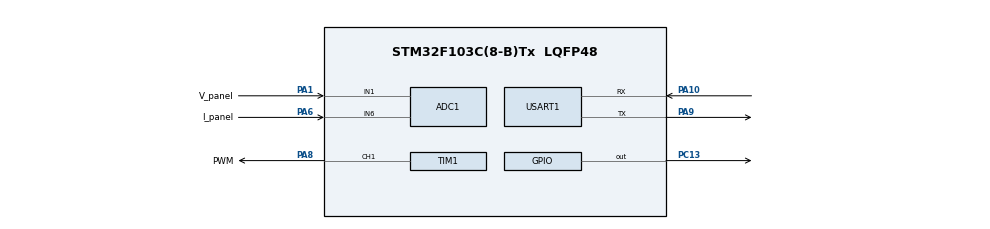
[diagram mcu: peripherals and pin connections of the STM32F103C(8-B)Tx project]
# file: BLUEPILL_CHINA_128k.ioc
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ADC1.Channel-0\#ChannelRegularConversion=ADC_CHANNEL_1
ADC1.NbrOfConversionFlag=1
ADC1.Rank-0\#ChannelRegularConversion=1
ADC1.SamplingTime-0\#ChannelRegularConversion=ADC_SAMPLETIME_1CYCLE_5
ADC1.master=1
Mcu.Family=STM32F1
Mcu.Name=STM32F103C(8-B)Tx
Mcu.Package=LQFP48
NVIC.PriorityGroup=NVIC_PRIORITYGROUP_4
PA1.GPIO_Label=V_panel
PA1.Signal=ADCx_IN1
PA10.Mode=Asynchronous
PA10.Signal=USART1_RX
PA13.Mode=Serial_Wire
PA13.Signal=SYS_JTMS-SWDIO
PA14.Mode=Serial_Wire
PA14.Signal=SYS_JTCK-SWCLK
PA6.GPIO_Label=I_panel
PA6.Signal=ADCx_IN6
PA8.GPIO_Label=PWM
PA8.Signal=S_TIM1_CH1
PA9.Mode=Asynchronous
PA9.Signal=USART1_TX
PC13-TAMPER-RTC.Signal=GPIO_Output
PD0-OSC_IN.Mode=HSE-External-Oscillator
PD0-OSC_IN.Signal=RCC_OSC_IN
PD1-OSC_OUT.Mode=HSE-External-Oscillator
PD1-OSC_OUT.Signal=RCC_OSC_OUT
ProjectManager.HeapSize=0x200
ProjectManager.StackSize=0x400
ProjectManager.TargetToolchain=STM32CubeIDE
RCC.APB1Freq_Value=8000000
RCC.APB2Freq_Value=8000000
SH.ADCx_IN1.0=ADC1_IN1,IN1
SH.ADCx_IN6.0=ADC1_IN6,IN6
SH.S_TIM1_CH1.0=TIM1_CH1,PWM Generation1 CH1
TIM1.Channel-PWM\ Generation1\ CH1=TIM_CHANNEL_1
TIM1.Period=255
TIM1.Prescaler=3
USART1.VirtualMode=VM_ASYNC
board=custom

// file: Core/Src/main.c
/* USER CODE BEGIN Header */
/**
 ******************************************************************************
 * @file           : main.c
 * @brief          : Main program body
 ******************************************************************************
 * @attention
 *
 * Copyright (c) 2024 STMicroelectronics.
 * All rights reserved.
 *
 * This software is licensed under terms that can be found in the LICENSE file
 * in the root directory of this software component.
 * If no LICENSE file comes with this software, it is provided AS-IS.
 *
 ******************************************************************************
 */
/* USER CODE END Header */
#include "main.h"

/* USER CODE BEGIN Includes */
#include "stdio.h"
#include "string.h"

/* USER CODE END Includes */

/* USER CODE BEGIN PTD */
//Aquí defines nuevos tipos de datos (typedef)
/* USER CODE END PTD */

/* USER CODE BEGIN PD */
//definir macros #define
#define ACTIVADOR_PIN GPIO_PIN_13
#define ACTIVADOR_PORT GPIOC

#define VPANEL_CHANNEL ADC_CHANNEL_1
#define IPANEL_CHANNEL ADC_CHANNEL_6

#define PWM_TIMER &htim1

/* USER CODE END PD */

ADC_HandleTypeDef hadc1;

TIM_HandleTypeDef htim1;

UART_HandleTypeDef huart1;

/* USER CODE BEGIN PV */
//defini aca las varaibles privadas
const int PWM_MPPT_Pin = PWM_Pin;    // Cambia por el pin que estés usando
const int pinVoltageInput = V_panel_Pin; // Entrada analógica para medir el voltaje de entrada A0
const int pinCurrentInput = I_panel_Pin; // Entrada analógica para medir la corriente de entrada A1

// Variables globales

/* USER CODE END PV */
float V_in = 0;
float I_in = 0;
float power = 0;
float previousPower = 0;
int dutyCycle = 255 * 0.5; // Valor inicial del Duty Cycle (50% para PWM de 8 bits)

void SystemClock_Config(void);
static void MX_GPIO_Init(void);
static void MX_ADC1_Init(void);
static void MX_TIM1_Init(void);
static void MX_USART1_UART_Init(void);
/* USER CODE BEGIN PFP */
uint32_t readADC(ADC_HandleTypeDef *hadc, uint32_t channel);

void mppt(int *dutyCycle, float *power, float *previousPower);
/* USER CODE END PFP */

/* USER CODE BEGIN 0 */

uint32_t readADC(ADC_HandleTypeDef *hadc, uint32_t channel) {
	ADC_ChannelConfTypeDef sConfig = { 0 };

	// Configurar el canal que se desea leer
	sConfig.Channel = channel;
	sConfig.Rank = ADC_REGULAR_RANK_1;
	sConfig.SamplingTime = ADC_SAMPLETIME_1CYCLE_5;

	if (HAL_ADC_ConfigChannel(hadc, &sConfig) != HAL_OK) {
		Error_Handler(); // Maneja errores de configuración
	}

	// Inicia la conversión del ADC
	HAL_ADC_Start(hadc);

	// Espera hasta que la conversión termine
	if (HAL_ADC_PollForConversion(hadc, HAL_MAX_DELAY) == HAL_OK) {
		// Retorna el valor convertido
		return HAL_ADC_GetValue(hadc);
	}

	return 0; // Retorna 0 en caso de error
}

void mppt(int *dutyCycle, float *power, float *previousPower) {
	const int deltaDuty = 10;    // Incremento o decremento del Duty Cycle
	if (*power > *previousPower) {
		if (*dutyCycle < 255)
			*dutyCycle += deltaDuty; // Si la potencia ha aumentado, continuar ajustando en la misma dirección
	} else {
		if (*dutyCycle > 0)
			*dutyCycle -= deltaDuty; // Si la potencia ha disminuido, invertir la dirección del ajuste
	}

	if (*dutyCycle < 0)
		*dutyCycle = 0; // Asegurar que el Duty Cycle esté dentro de los límites permitidos (0-255)
	if (*dutyCycle > 255)
		*dutyCycle = 255;

	*previousPower = *power; // Actualizar `previousPower` con el valor actual de `power`
}

/* USER CODE END 0 */

int main(void)
{

  /* MCU Configuration--------------------------------------------------------*/

  /* Reset of all peripherals, Initializes the Flash interface and the Systick. */
  HAL_Init();

  /* Configure the system clock */
  SystemClock_Config();

  /* Initialize all configured peripherals */
  MX_GPIO_Init();
  MX_ADC1_Init();
  MX_TIM1_Init();
  MX_USART1_UART_Init();
  /* USER CODE BEGIN 2 */
	// Iniciar PWM
	HAL_TIM_PWM_Start(&htim1, TIM_CHANNEL_1);
	//HAL_TIM_PWM_Start(&htim1, TIM_CHANNEL_1);
  /* USER CODE END 2 */

  /* Infinite loop */
  /* USER CODE BEGIN WHILE */
	while (1) {
		// Leer voltaje y corriente usando ADC
		V_in = readADC(&hadc1, VPANEL_CHANNEL) * (3.3 / 4095.0);
		I_in = readADC(&hadc1, IPANEL_CHANNEL) * (3.3 / 4095.0);

		// Calcular potencia
		power = V_in * I_in;

		// Algoritmo MPPT
		int i =0;
		if(i==0) power = 0.5;
		if(i==10) power = 1.5;
		if(i>10) i = 0;
		i++;

		mppt(&dutyCycle, &power, &previousPower);

		// Ajustar ciclo de trabajo del PWM
		//dutyCycle = 150;
		__HAL_TIM_SET_COMPARE(&htim1, TIM_CHANNEL_1, dutyCycle);
		// Imprimir datos al puerto serie
		char buffer[100];
		sprintf(buffer, "V_in: %.2f V, I_in: %.2f A, Power: %.2f W\n", V_in,
				I_in, power); // @suppress("Float formatting support")
		HAL_UART_Transmit(&huart1, (uint8_t*) buffer, strlen(buffer),
				HAL_MAX_DELAY);

		// Guardar la potencia anterior
		previousPower = power;

		//char prueba[27]="welcome to the jungle! \n\r";
		//HAL_UART_Transmit(&huart1, (uint8_t *)prueba, 27, 1000);
//
////		Para prender y apagar el led que viene en la bluepil
//      HAL_GPIO_WritePin(GPIOC, ACTIVADOR_PIN, GPIO_PIN_SET);
//      HAL_Delay(1000); // 1 segundo de delay
//      HAL_GPIO_WritePin(GPIOC, ACTIVADOR_PIN, GPIO_PIN_RESET);
      HAL_Delay(500); // 1 segundo de delay
    /* USER CODE END WHILE */

	}
}

void SystemClock_Config(void)
{
  RCC_OscInitTypeDef RCC_OscInitStruct = {0};
  RCC_ClkInitTypeDef RCC_ClkInitStruct = {0};
  RCC_PeriphCLKInitTypeDef PeriphClkInit = {0};

  /** Initializes the RCC Oscillators according to the specified parameters
  * in the RCC_OscInitTypeDef structure.
  */
  RCC_OscInitStruct.OscillatorType = RCC_OSCILLATORTYPE_HSI;
  RCC_OscInitStruct.HSIState = RCC_HSI_ON;
  RCC_OscInitStruct.HSICalibrationValue = RCC_HSICALIBRATION_DEFAULT;
  RCC_OscInitStruct.PLL.PLLState = RCC_PLL_NONE;
  if (HAL_RCC_OscConfig(&RCC_OscInitStruct) != HAL_OK)
  {
    Error_Handler();
  }

  /** Initializes the CPU, AHB and APB buses clocks
  */
  RCC_ClkInitStruct.ClockType = RCC_CLOCKTYPE_HCLK|RCC_CLOCKTYPE_SYSCLK
                              |RCC_CLOCKTYPE_PCLK1|RCC_CLOCKTYPE_PCLK2;
  RCC_ClkInitStruct.SYSCLKSource = RCC_SYSCLKSOURCE_HSI;
  RCC_ClkInitStruct.AHBCLKDivider = RCC_SYSCLK_DIV1;
  RCC_ClkInitStruct.APB1CLKDivider = RCC_HCLK_DIV1;
  RCC_ClkInitStruct.APB2CLKDivider = RCC_HCLK_DIV1;

  if (HAL_RCC_ClockConfig(&RCC_ClkInitStruct, FLASH_LATENCY_0) != HAL_OK)
  {
    Error_Handler();
  }
  PeriphClkInit.PeriphClockSelection = RCC_PERIPHCLK_ADC;
  PeriphClkInit.AdcClockSelection = RCC_ADCPCLK2_DIV2;
  if (HAL_RCCEx_PeriphCLKConfig(&PeriphClkInit) != HAL_OK)
  {
    Error_Handler();
  }
}

static void MX_ADC1_Init(void)
{

  ADC_ChannelConfTypeDef sConfig = {0};

  /** Common config
  */
  hadc1.Instance = ADC1;
  hadc1.Init.ScanConvMode = ADC_SCAN_DISABLE;
  hadc1.Init.ContinuousConvMode = DISABLE;
  hadc1.Init.DiscontinuousConvMode = DISABLE;
  hadc1.Init.ExternalTrigConv = ADC_SOFTWARE_START;
  hadc1.Init.DataAlign = ADC_DATAALIGN_RIGHT;
  hadc1.Init.NbrOfConversion = 1;
  if (HAL_ADC_Init(&hadc1) != HAL_OK)
  {
    Error_Handler();
  }

  /** Configure Regular Channel
  */
  sConfig.Channel = ADC_CHANNEL_1;
  sConfig.Rank = ADC_REGULAR_RANK_1;
  sConfig.SamplingTime = ADC_SAMPLETIME_1CYCLE_5;
  if (HAL_ADC_ConfigChannel(&hadc1, &sConfig) != HAL_OK)
  {
    Error_Handler();
  }

}

static void MX_TIM1_Init(void)
{

  TIM_MasterConfigTypeDef sMasterConfig = {0};
  TIM_OC_InitTypeDef sConfigOC = {0};
  TIM_BreakDeadTimeConfigTypeDef sBreakDeadTimeConfig = {0};

  htim1.Instance = TIM1;
  htim1.Init.Prescaler = 3;
  htim1.Init.CounterMode = TIM_COUNTERMODE_UP;
  htim1.Init.Period = 255;
  htim1.Init.ClockDivision = TIM_CLOCKDIVISION_DIV1;
  htim1.Init.RepetitionCounter = 0;
  htim1.Init.AutoReloadPreload = TIM_AUTORELOAD_PRELOAD_DISABLE;
  if (HAL_TIM_PWM_Init(&htim1) != HAL_OK)
  {
    Error_Handler();
  }
  sMasterConfig.MasterOutputTrigger = TIM_TRGO_RESET;
  sMasterConfig.MasterSlaveMode = TIM_MASTERSLAVEMODE_DISABLE;
  if (HAL_TIMEx_MasterConfigSynchronization(&htim1, &sMasterConfig) != HAL_OK)
  {
    Error_Handler();
  }
  sConfigOC.OCMode = TIM_OCMODE_PWM1;
  sConfigOC.Pulse = 0;
  sConfigOC.OCPolarity = TIM_OCPOLARITY_HIGH;
  sConfigOC.OCNPolarity = TIM_OCNPOLARITY_HIGH;
  sConfigOC.OCFastMode = TIM_OCFAST_DISABLE;
  sConfigOC.OCIdleState = TIM_OCIDLESTATE_RESET;
  sConfigOC.OCNIdleState = TIM_OCNIDLESTATE_RESET;
  if (HAL_TIM_PWM_ConfigChannel(&htim1, &sConfigOC, TIM_CHANNEL_1) != HAL_OK)
  {
    Error_Handler();
  }
  sBreakDeadTimeConfig.OffStateRunMode = TIM_OSSR_DISABLE;
  sBreakDeadTimeConfig.OffStateIDLEMode = TIM_OSSI_DISABLE;
  sBreakDeadTimeConfig.LockLevel = TIM_LOCKLEVEL_OFF;
  sBreakDeadTimeConfig.DeadTime = 0;
  sBreakDeadTimeConfig.BreakState = TIM_BREAK_DISABLE;
  sBreakDeadTimeConfig.BreakPolarity = TIM_BREAKPOLARITY_HIGH;
  sBreakDeadTimeConfig.AutomaticOutput = TIM_AUTOMATICOUTPUT_DISABLE;
  if (HAL_TIMEx_ConfigBreakDeadTime(&htim1, &sBreakDeadTimeConfig) != HAL_OK)
  {
    Error_Handler();
  }
  HAL_TIM_MspPostInit(&htim1);

}

static void MX_USART1_UART_Init(void)
{

  huart1.Instance = USART1;
  huart1.Init.BaudRate = 115200;
  huart1.Init.WordLength = UART_WORDLENGTH_8B;
  huart1.Init.StopBits = UART_STOPBITS_1;
  huart1.Init.Parity = UART_PARITY_NONE;
  huart1.Init.Mode = UART_MODE_TX_RX;
  huart1.Init.HwFlowCtl = UART_HWCONTROL_NONE;
  huart1.Init.OverSampling = UART_OVERSAMPLING_16;
  if (HAL_UART_Init(&huart1) != HAL_OK)
  {
    Error_Handler();
  }

}

static void MX_GPIO_Init(void)
{
  GPIO_InitTypeDef GPIO_InitStruct = {0};

  /* GPIO Ports Clock Enable */
  __HAL_RCC_GPIOC_CLK_ENABLE();
  __HAL_RCC_GPIOD_CLK_ENABLE();
  __HAL_RCC_GPIOA_CLK_ENABLE();

  /*Configure GPIO pin Output Level */
  HAL_GPIO_WritePin(GPIOC, GPIO_PIN_13, GPIO_PIN_RESET);

  /*Configure GPIO pin : PC13 */
  GPIO_InitStruct.Pin = GPIO_PIN_13;
  GPIO_InitStruct.Mode = GPIO_MODE_OUTPUT_PP;
  GPIO_InitStruct.Pull = GPIO_NOPULL;
  GPIO_InitStruct.Speed = GPIO_SPEED_FREQ_LOW;
  HAL_GPIO_Init(GPIOC, &GPIO_InitStruct);

}

void Error_Handler(void)
{
	__disable_irq();
	while (1) {
	}
}
